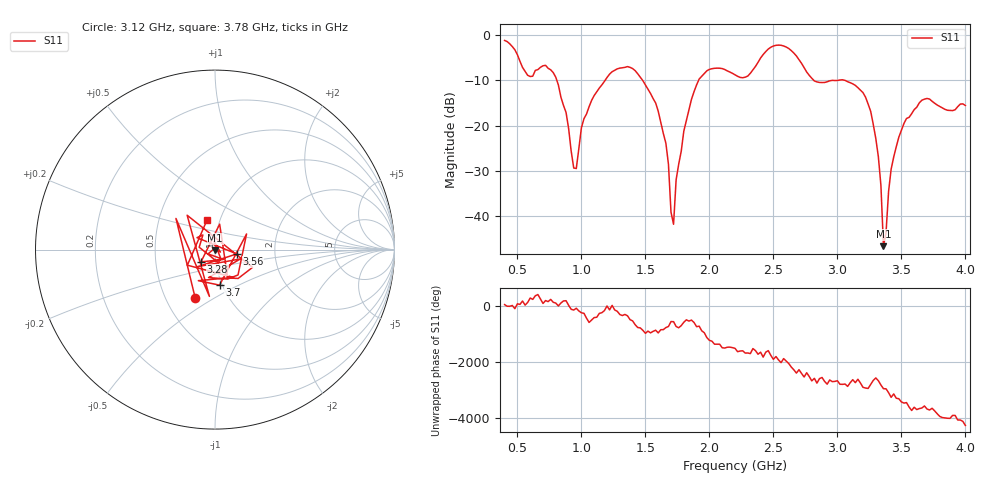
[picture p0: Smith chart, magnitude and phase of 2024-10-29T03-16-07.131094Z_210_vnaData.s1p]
!Created with skrf (http://scikit-rf.org).
# Hz S RI R 50.0
!freq ReS11 ImS11
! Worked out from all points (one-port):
!   181 points, 400 MHz to 4 GHz, reference 50 ohm
!   lowest |S11| = -46.5 dB at 3.36 GHz (marker M1), VSWR 1.01, Z = 50.1 - j0.455 ohm
!   |S11| at or under -10 dB: 808 MHz to 1.185 GHz (377.3 MHz wide, 37.9 % of centre); 1.478 GHz to 1.916 GHz (437.4 MHz wide, 25.8 % of centre); 3.058 GHz to end of sweep (the widest 3 of 4)
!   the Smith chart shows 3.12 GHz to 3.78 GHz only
!   S11 on the Smith chart (normalised r, x): 3.12 GHz: 0.70, -0.41; 3.28 GHz: 0.85, -0.12; 3.56 GHz: 1.27, -0.06; 3.7 GHz: 0.97, -0.40; 3.78 GHz: 0.87, +0.29
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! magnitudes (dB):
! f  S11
! 400 MHz  -1.2
! 580 MHz  -8.9
! 760 MHz  -7.7
! 860 MHz  -15.5
! 960 MHz  -29.4
! 1 GHz  -20.5
! 1.08 GHz  -14.4
! 1.3 GHz  -7.3
! 1.58 GHz  -15.0
! 1.66 GHz  -23.9
! 1.7 GHz  -39.1
! 1.72 GHz  -41.7
! 1.76 GHz  -28.5
! 1.92 GHz  -9.7
! 2.2 GHz  -8.8
! 2.5 GHz  -2.4
! 2.66 GHz  -4.0
! 2.82 GHz  -10.1
! 3.1 GHz  -10.5
! 3.12 GHz  -10.8
! 3.28 GHz  -19.7
! 3.34 GHz  -33.2
! 3.36 GHz  -46.5
! 3.42 GHz  -29.6
! 3.56 GHz  -18.2
! 3.7 GHz  -14.0
! 3.78 GHz  -15.4
! 4 GHz  -15.5
